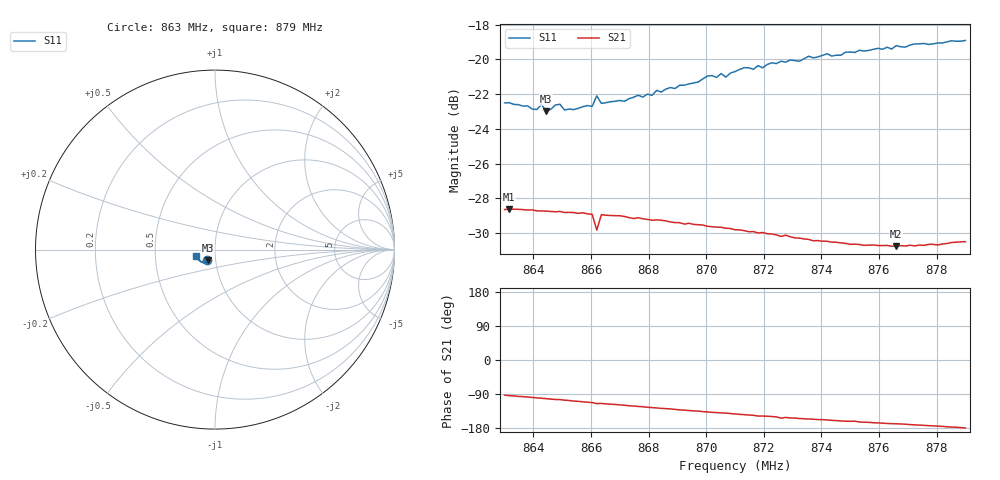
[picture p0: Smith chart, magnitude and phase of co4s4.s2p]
# HZ S RI R 50
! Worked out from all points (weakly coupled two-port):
!   101 points, 863 MHz to 879 MHz, reference 50 ohm
!   highest |S21| = -28.63 dB at 863.16 MHz (marker M1); lowest = -30.8 dB at 876.6 MHz (marker M2)
!   lowest |S11| = -23.0 dB at 864.44 MHz (marker M3), VSWR 1.15, Z = 45.9 - j5.41 ohm
!   |S11| at or under -10 dB: start of sweep to end of sweep
!   S12 and S22 are empty: the file has one direction only
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8.63e8  -0.0447 -0.0602  -0.00169 -0.0369  0 0  0 0
8.6316e8  -0.0444 -0.0605  -0.00263 -0.0369  0 0  0 0
8.6412e8  -0.0403 -0.0593  -0.00627 -0.0361  0 0  0 0
8.6428e8  -0.0404 -0.0623  -0.0069 -0.0359  0 0  0 0
8.6444e8  -0.0398 -0.0586  -0.00757 -0.0358  0 0  0 0
8.6492e8  -0.0416 -0.0615  -0.00909 -0.0353  0 0  0 0
8.6508e8  -0.038 -0.0606  -0.01 -0.0348  0 0  0 0
8.6572e8  -0.0379 -0.0625  -0.0126 -0.0339  0 0  0 0
8.6604e8  -0.0375 -0.0629  -0.0135 -0.0331  0 0  0 0
8.662e8  -0.0427 -0.066  -0.0136 -0.0292  0 0  0 0
8.6636e8  -0.0397 -0.0633  -0.0148 -0.0325  0 0  0 0
8.6844e8  -0.0422 -0.0686  -0.021 -0.0272  0 0  0 0
8.6972e8  -0.0472 -0.072  -0.0235 -0.0237  0 0  0 0
8.7004e8  -0.0504 -0.074  -0.0242 -0.0225  0 0  0 0
8.7036e8  -0.0509 -0.0727  -0.0247 -0.0217  0 0  0 0
8.7052e8  -0.0534 -0.0738  -0.025 -0.0212  0 0  0 0
8.7068e8  -0.0521 -0.0721  -0.025 -0.021  0 0  0 0
8.71e8  -0.0557 -0.0736  -0.0256 -0.0197  0 0  0 0
8.7372e8  -0.0737 -0.0693  -0.0275 -0.0121  0 0  0 0
8.7644e8  -0.0923 -0.0544  -0.0283 -0.00602  0 0  0 0
8.766e8  -0.0954 -0.054  -0.0283 -0.00588  0 0  0 0
8.79e8  -0.108 -0.0348  -0.0298 -0.000339  0 0  0 0
